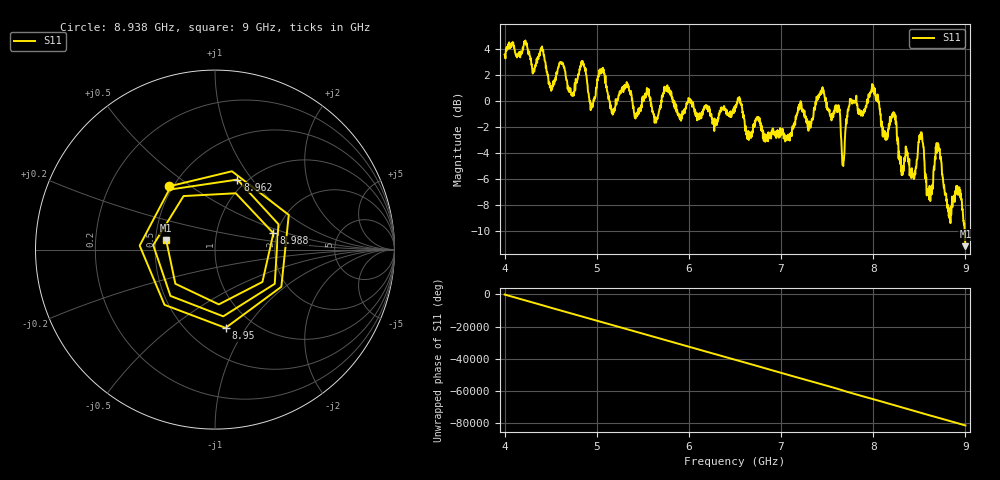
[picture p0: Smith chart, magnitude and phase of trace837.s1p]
! Created with skrf 1.8.0 (http://scikit-rf.org).
# Hz S RI R 50.0
!freq ReS11 ImS11
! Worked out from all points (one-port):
!   1601 points, 4 GHz to 9 GHz, reference 50 ohm
!   lowest |S11| = -11.2 dB at 9 GHz (marker M1), VSWR 1.76, Z = 28.5 + j3.15 ohm
!   |S11| at or under -10 dB: 8.991771 GHz to end of sweep
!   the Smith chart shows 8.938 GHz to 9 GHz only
!   S11 on the Smith chart (normalised r, x): 8.938 GHz: 0.48, +0.41; 8.95 GHz: 0.75, -0.81; 8.962 GHz: 0.91, +0.85; 8.988 GHz: 1.91, +0.39; 9 GHz: 0.57, +0.06
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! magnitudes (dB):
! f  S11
! 4 GHz  3.5
! 4.503 GHz  0.8
! 4.625 GHz  2.8
! 4.731 GHz  0.4
! 4.853 GHz  2.8
! 4.944 GHz  -0.6
! 5.05 GHz  2.3
! 5.172 GHz  -1.1
! 5.25 GHz  0.7
! 5.875 GHz  -0.9
! 6.5 GHz  -0.6
! 7.125 GHz  -2.0
! 7.447 GHz  0.9
! 7.616 GHz  -0.9
! 7.675 GHz  -5.0
! 7.75 GHz  0.1
! 8 GHz  1.2
! 8.375 GHz  -4.2
! 8.438 GHz  -6.0
! 8.522 GHz  -2.4
! 8.612 GHz  -6.5
! 8.703 GHz  -3.3
! 8.822 GHz  -8.7
! 8.938 GHz  -7.2
! 8.95 GHz  -7.1
! 8.962 GHz  -7.8
! 8.988 GHz  -9.4
! 9 GHz  -11.2
